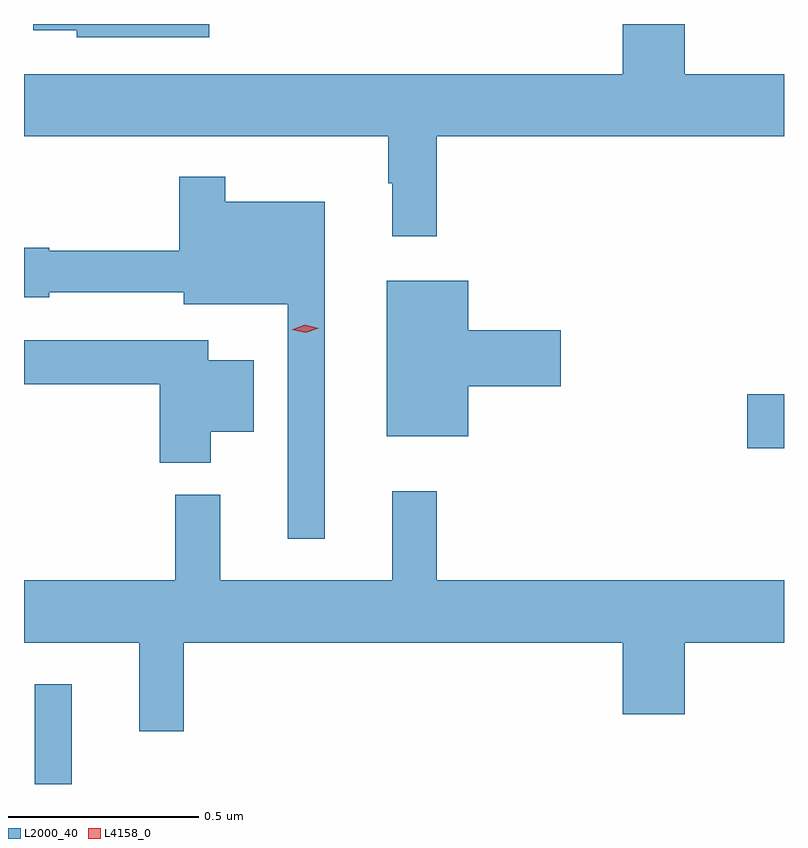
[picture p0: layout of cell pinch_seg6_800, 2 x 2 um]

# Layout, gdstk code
import gdstk
lib = gdstk.Library(unit=1e-6, precision=1e-09)
def R(c, l, rs):  # rectangles x0, y0, x1, y1
    for r in rs: c.add(gdstk.rectangle(r[:2], r[2:], *l))
def P(c, l, *ps):  # polygons
    for p in ps: c.add(gdstk.Polygon(p, *l))
L2000_40 = (2000, 40)
L4158_0 = (4158, 0)

pinch_seg6_800 = lib.new_cell('pinch_seg6_800')
R(pinch_seg6_800, L2000_40, [(307.317,986.924,307.414,987.187), (309.192,987.808,309.289,987.95)])
P(pinch_seg6_800, L2000_40, [(308.375,988.628),(309.289,988.628),(309.289,988.792),(309.028,988.792),(309.028,988.924),(308.864,988.924),(308.864,988.792),(307.289,988.792),(307.289,988.628),(308.247,988.628),(308.247,988.505),(308.258,988.505),(308.258,988.365),(308.375,988.365)],
  [(307.777,988.924),(307.313,988.924),(307.313,988.907),(307.428,988.907),(307.428,988.889),(307.777,988.889)],
  [(308.08,988.456),(307.819,988.456),(307.819,988.522),(307.698,988.522),(307.698,988.327),(307.356,988.327),(307.356,988.335),(307.289,988.335),(307.289,988.205),(307.356,988.205),(307.356,988.218),(307.709,988.218),(307.709,988.187),(307.983,988.187),(307.983,987.57),(308.08,987.57)],
  [(308.458,987.971),(308.701,987.971),(308.701,988.118),(308.458,988.118),(308.458,988.249),(308.243,988.249),(308.243,987.839),(308.458,987.839)],
  [(307.78,987.851),(307.894,987.851),(307.894,988.039),(307.774,988.039),(307.774,988.092),(307.289,988.092),(307.289,987.976),(307.646,987.976),(307.646,987.77),(307.78,987.77)],
  [(307.709,987.296),(308.864,987.296),(308.864,987.108),(309.028,987.108),(309.028,987.296),(309.289,987.296),(309.289,987.46),(308.375,987.46),(308.375,987.694),(308.258,987.694),(308.258,987.46),(307.805,987.46),(307.805,987.685),(307.687,987.685),(307.687,987.46),(307.289,987.46),(307.289,987.296),(307.592,987.296),(307.592,987.063),(307.709,987.063)])
P(pinch_seg6_800, L4158_0, [(308.03,988.112),(307.994,988.119),(307.993,988.119),(307.994,988.119),(308.028,988.132),(308.065,988.124),(308.065,988.124),(308.065,988.124)])

lib.write_gds('pinch_seg6_800.gds')
